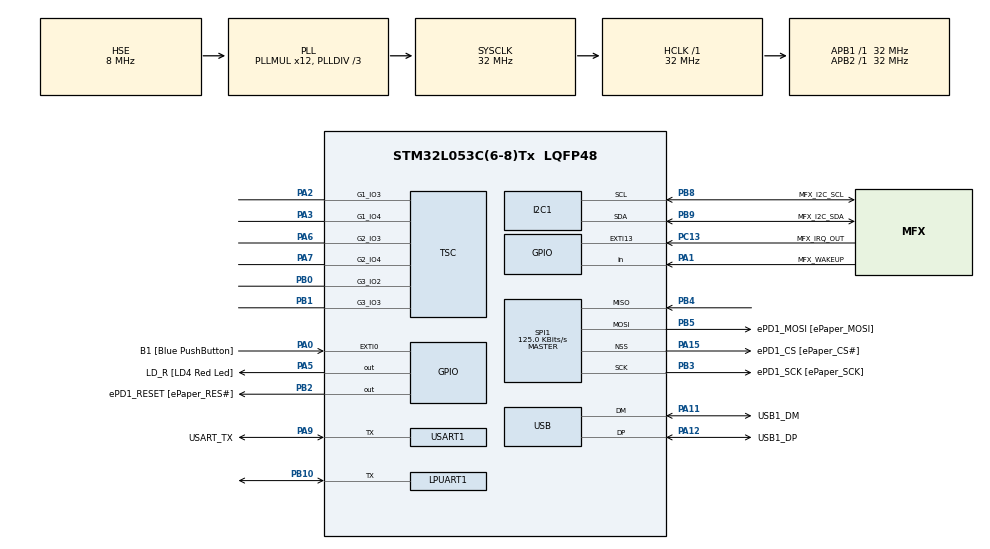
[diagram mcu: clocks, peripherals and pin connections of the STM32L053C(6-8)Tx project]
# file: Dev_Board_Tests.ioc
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I2C1.Timing=0x00707CBB
LPUART1.BaudRate=9600
LPUART1.WordLength=UART_WORDLENGTH_8B
Mcu.Family=STM32L0
Mcu.Name=STM32L053C(6-8)Tx
Mcu.Package=LQFP48
PA0.GPIO_Label=B1 [Blue PushButton]
PA0.GPIO_ModeDefaultEXTI=GPIO_MODE_EVT_RISING
PA0.GPIO_PuPd=GPIO_NOPULL
PA0.Signal=GPXTI0
PA1.GPIO_Label=MFX_WAKEUP
PA1.Signal=GPIO_Input
PA10.GPIO_Label=USART_RX
PA10.Signal=USART1_RX
PA11.GPIO_Label=USB1_DM
PA11.Mode=Device
PA11.Signal=USB_DM
PA12.GPIO_Label=USB1_DP
PA12.Mode=Device
PA12.Signal=USB_DP
PA13.GPIO_Label=SWDIO
PA13.Mode=Serial_Wire
PA13.Signal=SYS_SWDIO
PA14.GPIO_Label=SWCLK
PA14.Mode=Serial_Wire
PA14.Signal=SYS_SWCLK
PA15.GPIO_Label=ePD1_CS [ePaper_CS\#]
PA15.GPIO_Mode=GPIO_MODE_AF_PP
PA15.GPIO_PuPd=GPIO_NOPULL
PA15.GPIO_Speed=GPIO_SPEED_FREQ_VERY_HIGH
PA15.Mode=NSS_Signal_Hard_Output
PA15.Signal=SPI1_NSS
PA2.Mode=G1_IO3-Channel
PA2.Signal=TSC_G1_IO3
PA3.Mode=G1_IO4-Sampling
PA3.Signal=TSC_G1_IO4
PA5.GPIO_Label=LD_R [LD4 Red Led]
PA5.GPIO_ModeDefaultOutputPP=GPIO_MODE_OUTPUT_PP
PA5.GPIO_PuPd=GPIO_NOPULL
PA5.GPIO_Speed=GPIO_SPEED_FREQ_LOW
PA5.Signal=GPIO_Output
PA6.Mode=G2_IO3-Channel
PA6.Signal=TSC_G2_IO3
PA7.Mode=G2_IO4-Sampling
PA7.Signal=TSC_G2_IO4
PA8.Signal=USART1_CK
PA9.GPIO_Label=USART_TX
PA9.Mode=Half_duplex(single_wire_mode)
PA9.Signal=USART1_TX
PB0.Mode=G3_IO2-Channel
PB0.Signal=TSC_G3_IO2
PB1.Mode=G3_IO3-Sampling
PB1.Signal=TSC_G3_IO3
PB10.Mode=Half_duplex(single_wire_mode)
PB10.Signal=LPUART1_TX
PB11.Signal=LPUART1_RX
PB12.Signal=SPI2_NSS
PB13.GPIO_Label=NFC_SCK
PB13.GPIO_Mode=GPIO_MODE_AF_PP
PB13.GPIO_PuPd=GPIO_PULLDOWN
PB13.GPIO_Speed=GPIO_SPEED_FREQ_VERY_HIGH
PB13.Signal=SPI2_SCK
PB14.GPIO_Label=NFC_MISO
PB14.GPIO_Mode=GPIO_MODE_AF_PP
PB14.GPIO_PuPd=GPIO_PULLDOWN
PB14.GPIO_Speed=GPIO_SPEED_FREQ_VERY_HIGH
PB14.Signal=SPI2_MISO
PB15.GPIO_Mode=GPIO_MODE_AF_PP
PB15.GPIO_PuPd=GPIO_PULLDOWN
PB15.GPIO_Speed=GPIO_SPEED_FREQ_VERY_HIGH
PB15.Signal=SPI2_MOSI
PB2.GPIO_Label=ePD1_RESET [ePaper_RES\#]
PB2.GPIO_ModeDefaultOutputPP=GPIO_MODE_OUTPUT_PP
PB2.GPIO_PuPd=GPIO_NOPULL
PB2.GPIO_Speed=GPIO_SPEED_FREQ_LOW
PB2.Signal=GPIO_Output
PB3.GPIO_Label=ePD1_SCK [ePaper_SCK]
PB3.GPIO_Mode=GPIO_MODE_AF_PP
PB3.GPIO_PuPd=GPIO_PULLDOWN
PB3.GPIO_Speed=GPIO_SPEED_FREQ_VERY_HIGH
PB3.Mode=Full_Duplex_Master
PB3.Signal=SPI1_SCK
PB4.Mode=Full_Duplex_Master
PB4.Signal=SPI1_MISO
PB5.GPIO_Label=ePD1_MOSI [ePaper_MOSI]
PB5.GPIO_Mode=GPIO_MODE_AF_PP
PB5.GPIO_PuPd=GPIO_NOPULL
PB5.GPIO_Speed=GPIO_SPEED_FREQ_VERY_HIGH
PB5.Mode=Full_Duplex_Master
PB5.Signal=SPI1_MOSI
PB8.GPIO_Label=MFX_I2C_SCL
PB8.GPIO_Pu=GPIO_PULLUP
PB8.Mode=I2C
PB8.Signal=I2C1_SCL
PB9.GPIO_Label=MFX_I2C_SDA
PB9.GPIO_Pu=GPIO_PULLUP
PB9.Mode=I2C
PB9.Signal=I2C1_SDA
PC13.GPIO_Label=MFX_IRQ_OUT
PC13.Signal=GPXTI13
PC14-OSC32_IN.GPIO_Label=PC14-OSC32_IN
PC14-OSC32_IN.Signal=RCC_OSC32_IN
PC15-OSC32_OUT.GPIO_Label=PC15-OSC32_OUT
PC15-OSC32_OUT.Signal=RCC_OSC32_OUT
PH0-OSC_IN.GPIO_Label=MCO
PH0-OSC_IN.Mode=HSE-External-Clock-Source
PH0-OSC_IN.Signal=RCC_OSC_IN
ProjectManager.HeapSize=0x200
ProjectManager.StackSize=0x400
ProjectManager.TargetToolchain=STM32CubeIDE
RCC.AHBFreq_Value=32000000
RCC.APB1Freq_Value=32000000
RCC.APB1TimFreq_Value=32000000
RCC.APB2Freq_Value=32000000
RCC.APB2TimFreq_Value=32000000
RCC.HCLKFreq_Value=32000000
RCC.HSE_VALUE=8000000
RCC.HSI16_VALUE=16000000
RCC.HSI48MClockSelection=RCC_USBCLKSOURCE_HSI48
RCC.HSI48_VALUE=48000000
RCC.HSI_VALUE=16000000
RCC.LSE_VALUE=32768
RCC.MSI_VALUE=2097000
RCC.PLLDIV=RCC_PLLDIV_3
RCC.PLLMUL=RCC_PLLMUL_12
RCC.PLLSourceVirtual=RCC_PLLSOURCE_HSE
RCC.RTCClockSelectionVirtual=RCC_RTCCLKSOURCE_LSE
RCC.SYSCLKFreq_VALUE=32000000
RCC.SYSCLKSource=RCC_SYSCLKSOURCE_PLLCLK
RCC.VCOOutputFreq_Value=96000000
SPI1.BaudRatePrescaler=SPI_BAUDRATEPRESCALER_256
SPI1.CLKPhase=SPI_PHASE_1EDGE
SPI1.CLKPolarity=SPI_POLARITY_LOW
SPI1.CRCCalculation=SPI_CRCCALCULATION_DISABLE
SPI1.CalculateBaudRate=125.0 KBits/s
SPI1.DataSize=SPI_DATASIZE_8BIT
SPI1.Direction=SPI_DIRECTION_2LINES
SPI1.FirstBit=SPI_FIRSTBIT_MSB
SPI1.Mode=SPI_MODE_MASTER
SPI1.TIMode=SPI_TIMODE_DISABLE
SPI1.VirtualNSS=VM_NSSHARD
SPI1.VirtualType=VM_MASTER
TSC.ChannelIOs-G1_IO3=TSC_GROUP1_IO3
TSC.ChannelIOs-G2_IO3=TSC_GROUP2_IO3
TSC.ChannelIOs-G3_IO2=TSC_GROUP3_IO2
TSC.SamplingIOs-G1_IO4=TSC_GROUP1_IO4
TSC.SamplingIOs-G2_IO4=TSC_GROUP2_IO4
TSC.SamplingIOs-G3_IO3=TSC_GROUP3_IO3
USART1.VirtualMode-Half_duplex(single_wire_mode)=VM_ASYNC
board=STM32L0538-DISCO

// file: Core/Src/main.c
/* USER CODE BEGIN Header */
/**
  ******************************************************************************
  * @file           : main.c
  * @brief          : Main program body
  ******************************************************************************
  * @attention
  *
  * Copyright (c) 2021 STMicroelectronics.
  * All rights reserved.
  *
  * This software is licensed under terms that can be found in the LICENSE file
  * in the root directory of this software component.
  * If no LICENSE file comes with this software, it is provided AS-IS.
  *
  ******************************************************************************
  */
/* USER CODE END Header */
#include "main.h"

/* USER CODE BEGIN Includes */
#include "printf.h"
#include <nand_m79a.h>
#include "OV5642_regs.h"

/* USER CODE END Includes */

/* USER CODE BEGIN PTD */
//static UART_HandleTypeDef s_UARTHandle = UART_HandleTypeDef();

/* USER CODE END PTD */

I2C_HandleTypeDef hi2c1;

UART_HandleTypeDef hlpuart1;
UART_HandleTypeDef huart1;

SPI_HandleTypeDef hspi1;

TSC_HandleTypeDef htsc;

PCD_HandleTypeDef hpcd_USB_FS;

void SystemClock_Config(void);
static void MX_GPIO_Init(void);
static void MX_I2C1_Init(void);
static void MX_SPI1_Init(void);
static void MX_TSC_Init(void);
static void MX_USART1_UART_Init(void);
static void MX_USB_PCD_Init(void);
static void MX_LPUART1_UART_Init(void);

/* USER CODE BEGIN 0 */

HAL_StatusTypeDef ReadRegister(uint8_t addr, uint8_t *byte)
{
    HAL_StatusTypeDef hal_status;
    uint8_t tx_data[2];
    uint8_t rx_data[2];

    tx_data[0] = addr;  // read operation
    tx_data[1] = 0; 	// dummy byte for response

    rx_data[0] = addr;
    rx_data[1] = 0;

    hal_status = HAL_SPI_TransmitReceive(&hspi1, tx_data, rx_data, 2, 10000);
//    HAL_SPI_Transmit(&hspi2, tx_data, 2, 10000);
//    HAL_Delay(.5);
//    HAL_SPI_Receive(&hspi2, rx_data, 2, 10000);

    if (hal_status == HAL_OK)
    {
        *byte = rx_data[1];    // response is in the second byte
    }
    return hal_status;
}

uint8_t hi2c1_read_register(uint8_t addr, uint16_t register_pointer)
{
    HAL_StatusTypeDef status = HAL_OK;
    uint16_t return_value = 0;

    status = HAL_I2C_Mem_Read(&hi2c1, addr, (uint16_t)register_pointer, I2C_MEMADD_SIZE_16BIT, &return_value, 1, 100);

    /* Check the communication status */
//      if(status != HAL_OK)
//      {
//          // Error handling, for example re-initialization of the I2C peripheral
//      	printf("I2C read from 0x%x failed...\r\n", register_pointer );
//      }
//      else{
//      	printf("I2C read from 0x%x was successful!\r\n", register_pointer );
//      }
    return return_value;
}

void hi2c1_write_register(uint8_t addr, uint16_t register_pointer, uint16_t register_value)
{
    HAL_StatusTypeDef status;
    uint8_t dataBuffer[1];
    dataBuffer[0] = register_value;
    status = HAL_I2C_Mem_Write(&hi2c1, addr, (uint16_t)register_pointer, I2C_MEMADD_SIZE_16BIT, dataBuffer, 1, 100);

//      /* Check the communication status */
//      if(status != HAL_OK)
//      {
//          // Error handling, for example re-initialization of the I2C peripheral
//      	printf("I2C write to 0x%x failed...\r\n", register_pointer );
//      }
//      else{
//      	printf("I2C write was successful\r\n");
//      }
}

uint8_t SPI_Write(uint8_t addr, uint8_t data){
	HAL_SPI_Init(&hspi1);
//	uint8_t txBuf[2] = {((addr << 1) ), data};
	uint8_t txBuf[2] = {(addr | 0x80), data};

	uint8_t status = (HAL_SPI_Transmit(&hspi1, txBuf, 2, HAL_MAX_DELAY) == HAL_OK);
    HAL_SPI_DeInit(&hspi1);

	return status;
}

uint8_t SPI_Read_Byte(uint8_t addr, uint8_t *data) {
	HAL_SPI_Init(&hspi1);
//	uint8_t dataBuffer[2] = {(addr << 1), 0x00};
	uint8_t dataBuffer[2] = {(addr), 0x00};

	uint8_t rxBuf[1];
	rxBuf[0] = 0x00;
//	uint8_t status = (HAL_SPI_TransmitReceive(&hspi1, dataBuffer, rxBuf, 3, HAL_MAX_DELAY) == HAL_OK);
	HAL_SPI_Transmit(&hspi1, dataBuffer, 1, 10000);
	uint8_t status = HAL_SPI_Receive(&hspi1, rxBuf, 1, 10000);
	*data = rxBuf[0];
    HAL_SPI_DeInit(&hspi1);

	return status;
}

void I2C1_Program_Sensor(){
	for (int i=0; i<sizeof(ov5642_2592x1944); i++){
		printf("%d\r\n", i);
	}
}

/* USER CODE END 0 */

int main(void)
{
  /* USER CODE BEGIN 1 */
	const uint8_t CAM_READ = 0b00100000;
	char spi_buf[20];
  /* USER CODE END 1 */

  /* MCU Configuration--------------------------------------------------------*/

  /* Reset of all peripherals, Initializes the Flash interface and the Systick. */
  HAL_Init();

  /* Configure the system clock */
  SystemClock_Config();

  /* Initialize all configured peripherals */
  MX_GPIO_Init();
  MX_I2C1_Init();
  MX_SPI1_Init();
  MX_TSC_Init();
  MX_USART1_UART_Init();
  MX_USB_PCD_Init();
  MX_LPUART1_UART_Init();

  /* Infinite loop */
  /* USER CODE BEGIN WHILE */
//  	uint8_t rtn;
//  	printf("Reading 0x3801 from 0x3C; expecting 0xA8\r\n");
//  	rtn = hi2c2_read_register(0x3C << 1, 0X3801);
//  	printf("Read 0x%X from 0x3801 at 0x3C\r\n", rtn);
//
//  	printf("\r\nWriting 0xa8 to 0x3801 on 0x3C\r\n");
//  	hi2c2_write_register(0x3C << 1, 0x3801, 0xA8);
//
//  	printf("Reading 0x3801 from 0x3C; expecting 0xA8\r\n");
//  	rtn = hi2c2_read_register(0x3C << 1, 0X3801);
//  	printf("Read 0x%X from 0x3801 at 0x3C\r\n", rtn);
  	I2C1_Program_Sensor();
  	uint8_t rxbuf[1];
  	uint8_t addr = 0x40;
  	HAL_StatusTypeDef result;

  	uint8_t vid,pid;
  	vid = hi2c1_read_register(0x3C << 1, 0x300A);
  	pid = hi2c1_read_register(0x3C << 1, 0x300B);
  	if ((vid == 0x56) && (pid == 0x42))
  			{
  				printf("OV5642 detected.\r\n");
  			}

	while (1)
  {
//		HAL_SPI_Init(&hspi1);

//		SPI_Write(0x00, 0x55);
		SPI_Read_Byte(0x00, rxbuf);

//		HAL_SPI_DeInit(&hspi1);

	  	SPI_Read_Byte(0x46, rxbuf); // 0x46 -> 0x8c
	  	SPI_Read_Byte(0x8e, rxbuf); // 0x47 -> 0x8e
//	  	SPI_Read_Byte(0x48, rxbuf); // 0x48 -> 0x90
//	  	SPI_Read_Byte(0x46, rxbuf);
//
//	    printf("Recieved 0x%x", rxbuf[0]);

//	  	vid = hi2c1_read_register(0x3C << 1, 0x300A);
//	  	pid = hi2c1_read_register(0x3C << 1, 0x300B);
//	  	if ((vid == 0x56) && (pid == 0x42))
//	  			{
//	  				printf("OV5642 detected.\r\n");
//	  			}
	  	HAL_Delay(100);

    /* USER CODE END WHILE */

  }
}

void SystemClock_Config(void)
{
  RCC_OscInitTypeDef RCC_OscInitStruct = {0};
  RCC_ClkInitTypeDef RCC_ClkInitStruct = {0};
  RCC_PeriphCLKInitTypeDef PeriphClkInit = {0};

  /** Configure the main internal regulator output voltage
  */
  __HAL_PWR_VOLTAGESCALING_CONFIG(PWR_REGULATOR_VOLTAGE_SCALE1);
  /** Initializes the RCC Oscillators according to the specified parameters
  * in the RCC_OscInitTypeDef structure.
  */
  RCC_OscInitStruct.OscillatorType = RCC_OSCILLATORTYPE_HSE|RCC_OSCILLATORTYPE_HSI48;
  RCC_OscInitStruct.HSEState = RCC_HSE_BYPASS;
  RCC_OscInitStruct.HSI48State = RCC_HSI48_ON;
  RCC_OscInitStruct.PLL.PLLState = RCC_PLL_ON;
  RCC_OscInitStruct.PLL.PLLSource = RCC_PLLSOURCE_HSE;
  RCC_OscInitStruct.PLL.PLLMUL = RCC_PLLMUL_12;
  RCC_OscInitStruct.PLL.PLLDIV = RCC_PLLDIV_3;
  if (HAL_RCC_OscConfig(&RCC_OscInitStruct) != HAL_OK)
  {
    Error_Handler();
  }
  /** Initializes the CPU, AHB and APB buses clocks
  */
  RCC_ClkInitStruct.ClockType = RCC_CLOCKTYPE_HCLK|RCC_CLOCKTYPE_SYSCLK
                              |RCC_CLOCKTYPE_PCLK1|RCC_CLOCKTYPE_PCLK2;
  RCC_ClkInitStruct.SYSCLKSource = RCC_SYSCLKSOURCE_PLLCLK;
  RCC_ClkInitStruct.AHBCLKDivider = RCC_SYSCLK_DIV1;
  RCC_ClkInitStruct.APB1CLKDivider = RCC_HCLK_DIV1;
  RCC_ClkInitStruct.APB2CLKDivider = RCC_HCLK_DIV1;

  if (HAL_RCC_ClockConfig(&RCC_ClkInitStruct, FLASH_LATENCY_1) != HAL_OK)
  {
    Error_Handler();
  }
  PeriphClkInit.PeriphClockSelection = RCC_PERIPHCLK_USART1|RCC_PERIPHCLK_LPUART1
                              |RCC_PERIPHCLK_I2C1|RCC_PERIPHCLK_USB;
  PeriphClkInit.Usart1ClockSelection = RCC_USART1CLKSOURCE_PCLK2;
  PeriphClkInit.Lpuart1ClockSelection = RCC_LPUART1CLKSOURCE_PCLK1;
  PeriphClkInit.I2c1ClockSelection = RCC_I2C1CLKSOURCE_PCLK1;
  PeriphClkInit.UsbClockSelection = RCC_USBCLKSOURCE_HSI48;
  if (HAL_RCCEx_PeriphCLKConfig(&PeriphClkInit) != HAL_OK)
  {
    Error_Handler();
  }
}

static void MX_I2C1_Init(void)
{

  hi2c1.Instance = I2C1;
  hi2c1.Init.Timing = 0x00707CBB;
  hi2c1.Init.OwnAddress1 = 0;
  hi2c1.Init.AddressingMode = I2C_ADDRESSINGMODE_7BIT;
  hi2c1.Init.DualAddressMode = I2C_DUALADDRESS_DISABLE;
  hi2c1.Init.OwnAddress2 = 0;
  hi2c1.Init.OwnAddress2Masks = I2C_OA2_NOMASK;
  hi2c1.Init.GeneralCallMode = I2C_GENERALCALL_DISABLE;
  hi2c1.Init.NoStretchMode = I2C_NOSTRETCH_DISABLE;
  if (HAL_I2C_Init(&hi2c1) != HAL_OK)
  {
    Error_Handler();
  }
  /** Configure Analogue filter
  */
  if (HAL_I2CEx_ConfigAnalogFilter(&hi2c1, I2C_ANALOGFILTER_ENABLE) != HAL_OK)
  {
    Error_Handler();
  }
  /** Configure Digital filter
  */
  if (HAL_I2CEx_ConfigDigitalFilter(&hi2c1, 0) != HAL_OK)
  {
    Error_Handler();
  }

}

static void MX_LPUART1_UART_Init(void)
{

  hlpuart1.Instance = LPUART1;
  hlpuart1.Init.BaudRate = 9600;
  hlpuart1.Init.WordLength = UART_WORDLENGTH_8B;
  hlpuart1.Init.StopBits = UART_STOPBITS_1;
  hlpuart1.Init.Parity = UART_PARITY_NONE;
  hlpuart1.Init.Mode = UART_MODE_TX_RX;
  hlpuart1.Init.HwFlowCtl = UART_HWCONTROL_NONE;
  hlpuart1.Init.OneBitSampling = UART_ONE_BIT_SAMPLE_DISABLE;
  hlpuart1.AdvancedInit.AdvFeatureInit = UART_ADVFEATURE_NO_INIT;
  if (HAL_HalfDuplex_Init(&hlpuart1) != HAL_OK)
  {
    Error_Handler();
  }

}

static void MX_USART1_UART_Init(void)
{

  huart1.Instance = USART1;
  huart1.Init.BaudRate = 115200;
  huart1.Init.WordLength = UART_WORDLENGTH_8B;
  huart1.Init.StopBits = UART_STOPBITS_1;
  huart1.Init.Parity = UART_PARITY_NONE;
  huart1.Init.Mode = UART_MODE_TX_RX;
  huart1.Init.HwFlowCtl = UART_HWCONTROL_NONE;
  huart1.Init.OverSampling = UART_OVERSAMPLING_16;
  huart1.Init.OneBitSampling = UART_ONE_BIT_SAMPLE_DISABLE;
  huart1.AdvancedInit.AdvFeatureInit = UART_ADVFEATURE_NO_INIT;
  if (HAL_HalfDuplex_Init(&huart1) != HAL_OK)
  {
    Error_Handler();
  }

}

static void MX_SPI1_Init(void)
{

  /* SPI1 parameter configuration*/
  hspi1.Instance = SPI1;
  hspi1.Init.Mode = SPI_MODE_MASTER;
  hspi1.Init.Direction = SPI_DIRECTION_2LINES;
  hspi1.Init.DataSize = SPI_DATASIZE_8BIT;
  hspi1.Init.CLKPolarity = SPI_POLARITY_LOW;
  hspi1.Init.CLKPhase = SPI_PHASE_1EDGE;
  hspi1.Init.NSS = SPI_NSS_HARD_OUTPUT;
  hspi1.Init.BaudRatePrescaler = SPI_BAUDRATEPRESCALER_256;
  hspi1.Init.FirstBit = SPI_FIRSTBIT_MSB;
  hspi1.Init.TIMode = SPI_TIMODE_DISABLE;
  hspi1.Init.CRCCalculation = SPI_CRCCALCULATION_DISABLE;
  hspi1.Init.CRCPolynomial = 7;
  if (HAL_SPI_Init(&hspi1) != HAL_OK)
  {
    Error_Handler();
  }

}

static void MX_TSC_Init(void)
{

  /** Configure the TSC peripheral
  */
  htsc.Instance = TSC;
  htsc.Init.CTPulseHighLength = TSC_CTPH_2CYCLES;
  htsc.Init.CTPulseLowLength = TSC_CTPL_2CYCLES;
  htsc.Init.SpreadSpectrum = DISABLE;
  htsc.Init.SpreadSpectrumDeviation = 1;
  htsc.Init.SpreadSpectrumPrescaler = TSC_SS_PRESC_DIV1;
  htsc.Init.PulseGeneratorPrescaler = TSC_PG_PRESC_DIV4;
  htsc.Init.MaxCountValue = TSC_MCV_8191;
  htsc.Init.IODefaultMode = TSC_IODEF_OUT_PP_LOW;
  htsc.Init.SynchroPinPolarity = TSC_SYNC_POLARITY_FALLING;
  htsc.Init.AcquisitionMode = TSC_ACQ_MODE_NORMAL;
  htsc.Init.MaxCountInterrupt = DISABLE;
  htsc.Init.ChannelIOs = TSC_GROUP1_IO3|TSC_GROUP2_IO3|TSC_GROUP3_IO2;
  htsc.Init.ShieldIOs = 0;
  htsc.Init.SamplingIOs = TSC_GROUP1_IO4|TSC_GROUP2_IO4|TSC_GROUP3_IO3;
  if (HAL_TSC_Init(&htsc) != HAL_OK)
  {
    Error_Handler();
  }

}

static void MX_USB_PCD_Init(void)
{

  hpcd_USB_FS.Instance = USB;
  hpcd_USB_FS.Init.dev_endpoints = 8;
  hpcd_USB_FS.Init.speed = PCD_SPEED_FULL;
  hpcd_USB_FS.Init.phy_itface = PCD_PHY_EMBEDDED;
  hpcd_USB_FS.Init.low_power_enable = DISABLE;
  hpcd_USB_FS.Init.lpm_enable = DISABLE;
  hpcd_USB_FS.Init.battery_charging_enable = DISABLE;
  if (HAL_PCD_Init(&hpcd_USB_FS) != HAL_OK)
  {
    Error_Handler();
  }

}

static void MX_GPIO_Init(void)
{
  GPIO_InitTypeDef GPIO_InitStruct = {0};

  /* GPIO Ports Clock Enable */
  __HAL_RCC_GPIOC_CLK_ENABLE();
  __HAL_RCC_GPIOH_CLK_ENABLE();
  __HAL_RCC_GPIOA_CLK_ENABLE();
  __HAL_RCC_GPIOB_CLK_ENABLE();

  /*Configure GPIO pin Output Level */
  HAL_GPIO_WritePin(LD_R_GPIO_Port, LD_R_Pin, GPIO_PIN_RESET);

  /*Configure GPIO pin Output Level */
  HAL_GPIO_WritePin(ePD1_RESET_GPIO_Port, ePD1_RESET_Pin, GPIO_PIN_RESET);

  /*Configure GPIO pin : MFX_IRQ_OUT_Pin */
  GPIO_InitStruct.Pin = MFX_IRQ_OUT_Pin;
  GPIO_InitStruct.Mode = GPIO_MODE_IT_RISING;
  GPIO_InitStruct.Pull = GPIO_NOPULL;
  HAL_GPIO_Init(MFX_IRQ_OUT_GPIO_Port, &GPIO_InitStruct);

  /*Configure GPIO pin : B1_Pin */
  GPIO_InitStruct.Pin = B1_Pin;
  GPIO_InitStruct.Mode = GPIO_MODE_EVT_RISING;
  GPIO_InitStruct.Pull = GPIO_NOPULL;
  HAL_GPIO_Init(B1_GPIO_Port, &GPIO_InitStruct);

  /*Configure GPIO pin : MFX_WAKEUP_Pin */
  GPIO_InitStruct.Pin = MFX_WAKEUP_Pin;
  GPIO_InitStruct.Mode = GPIO_MODE_INPUT;
  GPIO_InitStruct.Pull = GPIO_NOPULL;
  HAL_GPIO_Init(MFX_WAKEUP_GPIO_Port, &GPIO_InitStruct);

  /*Configure GPIO pin : LD_R_Pin */
  GPIO_InitStruct.Pin = LD_R_Pin;
  GPIO_InitStruct.Mode = GPIO_MODE_OUTPUT_PP;
  GPIO_InitStruct.Pull = GPIO_NOPULL;
  GPIO_InitStruct.Speed = GPIO_SPEED_FREQ_LOW;
  HAL_GPIO_Init(LD_R_GPIO_Port, &GPIO_InitStruct);

  /*Configure GPIO pin : ePD1_RESET_Pin */
  GPIO_InitStruct.Pin = ePD1_RESET_Pin;
  GPIO_InitStruct.Mode = GPIO_MODE_OUTPUT_PP;
  GPIO_InitStruct.Pull = GPIO_NOPULL;
  GPIO_InitStruct.Speed = GPIO_SPEED_FREQ_LOW;
  HAL_GPIO_Init(ePD1_RESET_GPIO_Port, &GPIO_InitStruct);

  /*Configure GPIO pin : PB12 */
  GPIO_InitStruct.Pin = GPIO_PIN_12;
  GPIO_InitStruct.Mode = GPIO_MODE_AF_PP;
  GPIO_InitStruct.Pull = GPIO_NOPULL;
  GPIO_InitStruct.Speed = GPIO_SPEED_FREQ_VERY_HIGH;
  GPIO_InitStruct.Alternate = GPIO_AF0_SPI2;
  HAL_GPIO_Init(GPIOB, &GPIO_InitStruct);

  /*Configure GPIO pins : NFC_SCK_Pin NFC_MISO_Pin PB15 */
  GPIO_InitStruct.Pin = NFC_SCK_Pin|NFC_MISO_Pin|GPIO_PIN_15;
  GPIO_InitStruct.Mode = GPIO_MODE_AF_PP;
  GPIO_InitStruct.Pull = GPIO_PULLDOWN;
  GPIO_InitStruct.Speed = GPIO_SPEED_FREQ_VERY_HIGH;
  GPIO_InitStruct.Alternate = GPIO_AF0_SPI2;
  HAL_GPIO_Init(GPIOB, &GPIO_InitStruct);

}

void Error_Handler(void)
{
  __disable_irq();
  while (1)
  {
  }
}
